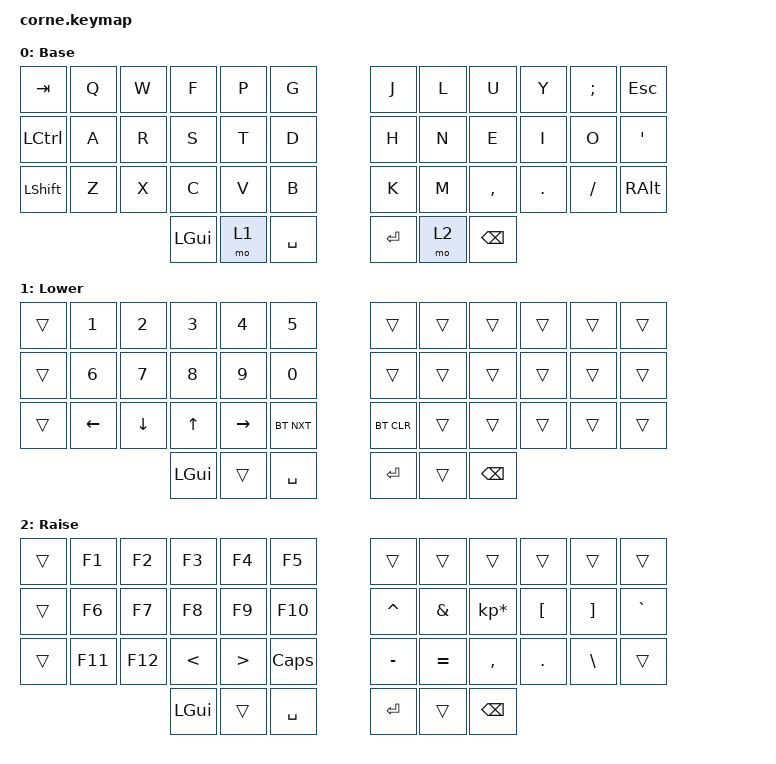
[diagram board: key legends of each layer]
/*
 * Copyright (c) 2020 The ZMK Contributors
 *
 * SPDX-License-Identifier: MIT
 */

#include <behaviors.dtsi>
#include <dt-bindings/zmk/bt.h>
#include <dt-bindings/zmk/keys.h>

/ {
    keymap {
        compatible = "zmk,keymap";

        default_layer {
            // -----------------------------------------------------------------------------------------
            // |  TAB |  Q  |  W  |  E  |  R  |  T  |   |  Y  |  U   |  I  |  O  |  P  | BKSP |
            // | CTRL |  A  |  S  |  D  |  F  |  G  |   |  H  |  J   |  K  |  L  |  ;  |  '   |
            // | SHFT |  Z  |  X  |  C  |  V  |  B  |   |  N  |  M   |  ,  |  .  |  /  | ESC  |
            //                    | GUI | LWR | SPC |   | ENT | RSE  | ALT |

            display-name = "Base";
            bindings = <
&kp TAB    &kp Q  &kp W  &kp F     &kp P  &kp G        &kp J    &kp L  &kp U          &kp Y    &kp SEMICOLON  &kp ESC
&kp LCTRL  &kp A  &kp R  &kp S     &kp T  &kp D        &kp H    &kp N  &kp E          &kp I    &kp O          &kp SQT
&kp LSHFT  &kp Z  &kp X  &kp C     &kp V  &kp B        &kp K    &kp M  &kp COMMA      &kp DOT  &kp FSLH       &kp RALT
                         &kp LGUI  &mo 1  &kp SPACE    &kp RET  &mo 2  &kp BACKSPACE
            >;
        };

        lower_layer {
            // -----------------------------------------------------------------------------------------
            // |  TAB |  1  |  2  |  3  |  4  |  5  |   |  6  |  7  |  8  |  9  |  0  | BKSP |
            // | BTCLR| BT1 | BT2 | BT3 | BT4 | BT5 |   | LFT | DWN |  UP | RGT |     |      |
            // | SHFT |     |     |     |     |     |   |     |     |     |     |     |      |
            //                    | GUI |     | SPC |   | ENT |     | ALT |

            display-name = "Lower";
            bindings = <
&trans  &kp N1        &kp N2    &kp N3        &kp N4     &kp N5        &trans      &trans  &trans         &trans  &trans  &trans
&trans  &kp NUMBER_6  &kp N7    &kp N8        &kp N9     &kp N0        &trans      &trans  &trans         &trans  &trans  &trans
&trans  &kp LEFT      &kp DOWN  &kp UP_ARROW  &kp RIGHT  &bt BT_NXT    &bt BT_CLR  &trans  &trans         &trans  &trans  &trans
                                &kp LGUI      &trans     &kp SPACE     &kp RET     &trans  &kp BACKSPACE
            >;
        };

        raise_layer {
            // -----------------------------------------------------------------------------------------
            // |  TAB |  !  |  @  |  #  |  $  |  %  |   |  ^  |  &  |  *  |  (  |  )  | BKSP |
            // | CTRL |     |     |     |     |     |   |  -  |  =  |  [  |  ]  |  \  |  `   |
            // | SHFT |     |     |     |     |     |   |  _  |  +  |  {  |  }  | "|" |  ~   |
            //                    | GUI |     | SPC |   | ENT |     | ALT |

            display-name = "Raise";
            bindings = <
&trans  &kp F1   &kp F2   &kp F3         &kp F4            &kp F5       &trans     &trans         &trans           &trans            &trans             &trans
&trans  &kp F6   &kp F7   &kp F8         &kp F9            &kp F10      &kp CARET  &kp AMPERSAND  &kp KP_MULTIPLY  &kp LEFT_BRACKET  &kp RIGHT_BRACKET  &kp GRAVE
&trans  &kp F11  &kp F12  &kp LESS_THAN  &kp GREATER_THAN  &kp CAPS     &kp MINUS  &kp EQUAL      &kp COMMA        &kp PERIOD        &kp BACKSLASH      &trans
                          &kp LGUI       &trans            &kp SPACE    &kp RET    &trans         &kp BACKSPACE
            >;
        };

        extra_1 { status = "reserved"; };

        extra_2 { status = "reserved"; };

        extra_3 { status = "reserved"; };
    };
};
